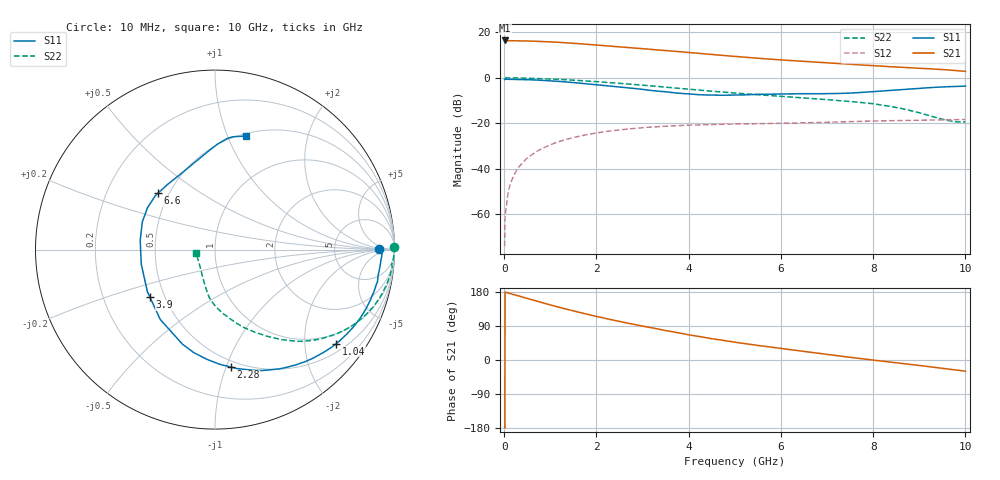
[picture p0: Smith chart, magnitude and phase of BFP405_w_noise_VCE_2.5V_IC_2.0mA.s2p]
! Infineon Technologies  Discrete & RF Semiconductors
! BFP405
! VCE =  2.5 V,  IC =  2.0 mA
! Common Emitter S-Parameters:  Jan 2016
# GHz  S  MA  R  50
!  f  S11  S21  S12  S22
! GHz  MAG  ANG  MAG  ANG  MAG  ANG  MAG  ANG
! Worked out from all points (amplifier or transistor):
!   233 points, 10 MHz to 10 GHz, reference 50 ohm
!   highest |S21| = 16.4 dB at 10 MHz (marker M1)
!   |S21| within 3 dB of that: start of sweep to 2.613 GHz
!   unconditionally stable (mu >= 1): 4.434 GHz to end of sweep
!   at 200 MHz: K = 0.05, MSG = 29.8 dB, |S12| = -43.3 dB
!   at 1.74 GHz: K = 0.31, MSG = 20.0 dB, |S12| = -25.2 dB
!   at 10 GHz: K = 1.71, MAG = 5.7 dB, |S12| = -18.3 dB
!   lowest NFmin = 0.86 dB at 900 MHz
!   S11 on the Smith chart (normalised r, x): 10 MHz: 22, +1; 1.04 GHz: 0.71, -2.76; 2.28 GHz: 0.45, -1.04; 3.9 GHz: 0.41, -0.27; 6.6 GHz: 0.44, +0.34; 10 GHz: 0.53, +1.17
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0.01  0.9144 0.2  6.619 -177.2  0.0002 14.6  1 0.7
0.015  0.9228 -0.1  6.569 -179.1  0.0005 75.0  0.9967 0.5
0.02  0.9313 -0.4  6.527 178.9  0.0009 86.1  0.9934 0.2
0.025  0.9311 -0.7  6.524 178.8  0.001 84.5  0.994 0.1
0.1  0.9263 -3.5  6.543 176.2  0.0035 87.8  0.9973 -1.8
0.19  0.9229 -6.8  6.525 173.3  0.0065 86.0  0.9946 -3.6
0.5  0.9103 -18.1  6.464 162.6  0.0172 80.9  0.982 -9.4
0.8  0.8836 -29.1  6.311 152.2  0.0272 74.9  0.9622 -15.0
1.04  0.8549 -37.8  6.14 144.1  0.035 70.2  0.9403 -19.3
1.38  0.806 -50.0  5.848 133.2  0.0453 63.6  0.9028 -25.2
1.68  0.7584 -60.8  5.567 124.1  0.0536 57.9  0.8655 -30.0
2  0.7055 -72.4  5.256 115.0  0.0614 52.3  0.824 -34.7
2.28  0.6604 -82.4  4.986 107.5  0.0675 47.7  0.7865 -38.5
2.84  0.5797 -103.0  4.501 93.3  0.0777 39.2  0.7116 -45.8
3.4  0.5023 -123.9  4.049 80.1  0.0853 31.5  0.6357 -52.3
3.9  0.4491 -143.9  3.674 68.9  0.0903 25.4  0.5731 -58.0
4.5  0.4187 -168.9  3.268 56.2  0.0945 19.0  0.5077 -64.6
5.1  0.4204 170.3  2.896 45.2  0.0969 13.9  0.4548 -70.5
6.6  0.4469 135.5  2.266 21.1  0.1032 5.3  0.355 -83.3
6.8  0.4464 130.9  2.198 17.9  0.1044 4.3  0.3429 -85.1
8.4  0.5327 96.5  1.75 -6.0  0.1143 -5.0  0.233 -101.5
10  0.6568 74.6  1.389 -29.5  0.1214 -13.4  0.1069 -169.3
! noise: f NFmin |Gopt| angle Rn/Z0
0.9  0.86  0.58  15  0.42
1.8  1.21  0.46  27  0.37
2.4  1.43  0.38  38  0.36
3  1.47  0.38  52  0.33
4  1.69  0.25  80  0.26
5  2.05  0.21  114  0.21
